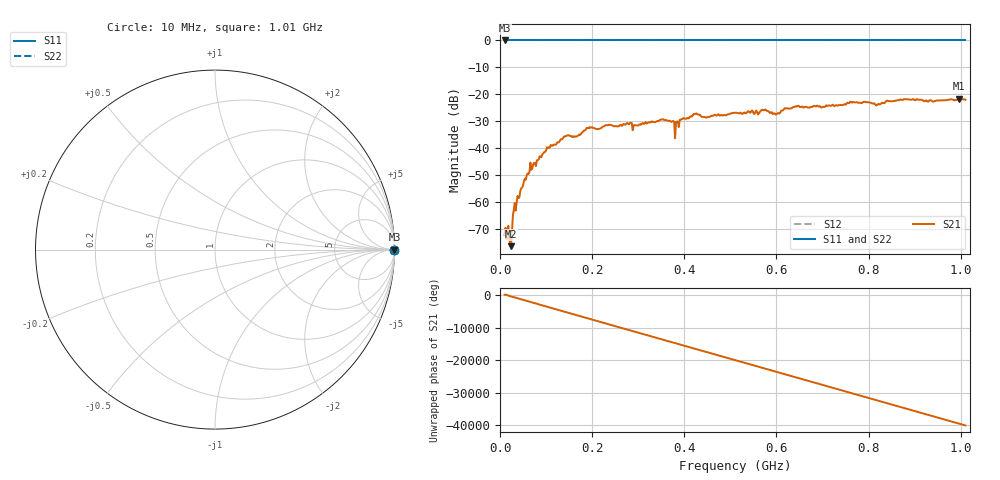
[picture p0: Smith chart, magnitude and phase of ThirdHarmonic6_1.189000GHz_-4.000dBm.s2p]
! 8/16/2025 12:12:17 PM
! C:\ANRITSUVNA\TEMP\TEMP.S2P
! CHANNEL.1
! TR.MEASUREMENT
! RAW.DATA
! RF.CORRECTION.OFF
! AVERAGING.OFF
! IF.BANDWIDTH: 5KHZ
! SWEEPTYPE:  FREQ.SWEEP(Linear)
! Reference Plane Port Info
! PORT:  PORT1  PORT2
! DISTANCE:  0  m  0  m
! TIME:  0  s  0  s
! PHASE.OFFSET:  0  deg.  0  deg.
! LOSS:  0  dB  0  dB
! REF.LOSS:  0  dB  0  dB
! REF.FREQ:  0  Hz  0  Hz
! Power Info
! POWER:  -20  dBm  -20  dBm
! EFF.POWER:  -20  dBm  -20  dBm
! SOURCE.ATTEN:  0  dB  0  dB
! TEST.ATTEN:  0  dB  0  dB
# GHZ S RI R 50.0
! FREQ.GHZ  S11RE  S11IM  S21RE  S21IM  S12RE  S12IM  S22RE  S22IM
!; PortSelection: Port_12
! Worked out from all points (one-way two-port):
!   501 points, 10 MHz to 1.01 GHz, reference 50 ohm
!   highest |S21| = -21.66 dB at 996 MHz (marker M1); lowest = -76.3 dB at 24 MHz (marker M2)
!   lowest |S11| = 0.0 dB at 10 MHz (marker M3)
!   |S11| at or under -10 dB: nowhere
!   |S22| runs from 0.0 to 0.0 dB; largest |S21 - S12| = 1.1
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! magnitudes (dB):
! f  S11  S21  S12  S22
! 10 MHz  0.0  -72.2  0.0  0.0
! 24 MHz  0.0  -76.3  0.0  0.0
! 34 MHz  0.0  -63.1  0.0  0.0
! 70 MHz  0.0  -47.5  0.0  0.0
! 106 MHz  0.0  -39.6  0.0  0.0
! 142 MHz  0.0  -35.6  0.0  0.0
! 178 MHz  0.0  -34.2  0.0  0.0
! 196 MHz  0.0  -32.4  0.0  0.0
! 344 MHz  0.0  -30.0  0.0  0.0
! 374 MHz  0.0  -30.0  0.0  0.0
! 384 MHz  0.0  -30.1  0.0  0.0
! 394 MHz  0.0  -29.2  0.0  0.0
! 424 MHz  0.0  -27.3  0.0  0.0
! 448 MHz  0.0  -28.6  0.0  0.0
! 510 MHz  0.0  -26.8  0.0  0.0
! 572 MHz  0.0  -25.9  0.0  0.0
! 602 MHz  0.0  -27.0  0.0  0.0
! 644 MHz  0.0  -24.5  0.0  0.0
! 678 MHz  0.0  -24.6  0.0  0.0
! 844 MHz  0.0  -22.5  0.0  0.0
! 996 MHz  0.0  -21.7  0.0  0.0
! 1.01 GHz  0.0  -22.0  0.0  0.0
